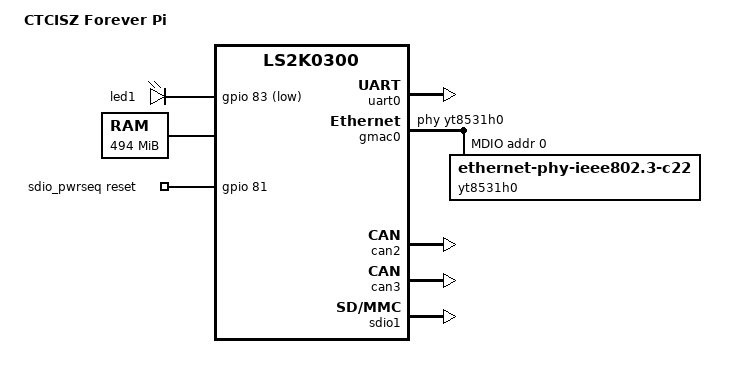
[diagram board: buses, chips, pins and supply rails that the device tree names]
// SPDX-License-Identifier: GPL-2.0
/*
 * Copyright (C) 2025 Yao Zi <ziyao@disroot.org>
 */

/dts-v1/;

#include "loongson-2k0300.dtsi"

/ {
	compatible = "ctcisz,forever-pi", "loongson,ls2k0300";
	model = "CTCISZ Forever Pi";
	product = "LS2K0300-99PI-WIFI";

	aliases {
		serial0 = &uart0;
	};

	chosen {
		stdout-path = "serial0:115200n8";
	};

	leds {
		compatible = "gpio-leds";

		led1 {
			label = "led1";
			gpios = <&gpio 83 GPIO_ACTIVE_LOW>;
			linux,default-trigger = "heartbeat";
			default-state = "on";
		};
	};

	memory@200000 {
		device_type = "memory";
		reg = <0 0x00200000 0 0x0ee00000>,
		      <0 0x90000000 0 0x10000000>;
	};

	reserved-memory {
		#address-cells = <2>;
		#size-cells = <2>;
		ranges;

		linux,cma {
			compatible = "shared-dma-pool";
			reusable;
			size = <0 0x02000000>;
			linux,cma-default;
		};
	};

	sdio_pwrseq: sdio-pwrseq {
		compatible = "mmc-pwrseq-simple";
		pinctrl-names = "default";
		pinctrl-0 = <&sdio0en>;
		reset-gpios = <&gpio 81 GPIO_ACTIVE_HIGH>;
	};
};

&pinctrl {
	func-gpio {
		sdio0en: pinmux_G81_as_sdio0en {
			pinmux = <PINMUX(81, 0x0)>;
		};
	};
};

&uart0 {
	status = "okay";
};

&gmac0 {
	status = "okay";
	phy-handle = <&yt8531h0>;
	mdio {
		#address-cells = <1>;
		#size-cells = <0>;
		compatible = "snps,dwmac-mdio";

		yt8531h0: ethernet-phy@0 {
			compatible = "ethernet-phy-ieee802.3-c22";
			reg = <0>;
			motorcomm,led0_cfg = <0x40>; //千兆常亮
			motorcomm,led1_cfg = <0x30>; //百兆 十兆常亮
			motorcomm,led2_cfg = <0x2600>; //有数据时闪烁
		};
	};
};

&can2 {
	status = "okay";
};

&can3 {
	status = "okay";
};

&sdio1 {
	status = "okay";
};
